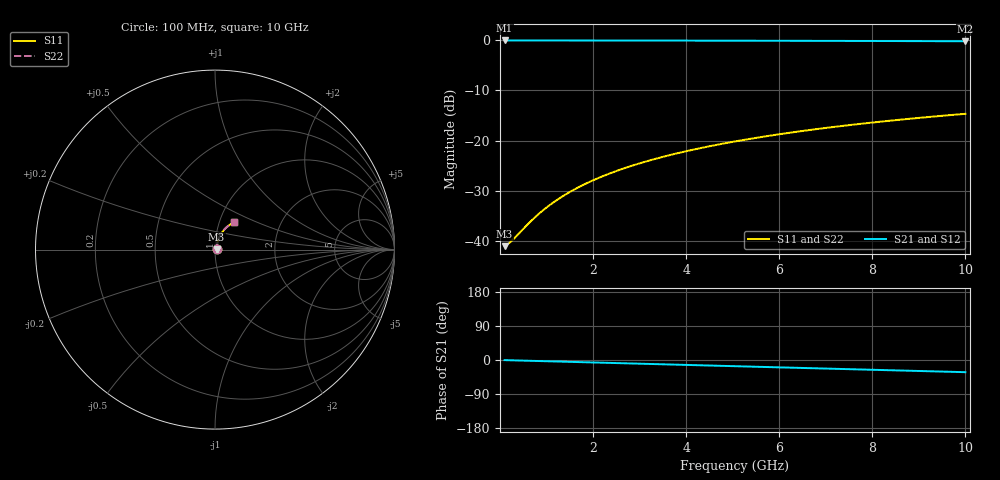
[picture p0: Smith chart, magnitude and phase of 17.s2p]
# Hz S RI R 50.00
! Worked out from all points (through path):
!   100 points, 100 MHz to 10 GHz, reference 50 ohm
!   highest |S21| = -0.08 dB at 100 MHz (marker M1); lowest = -0.2 dB at 10 GHz (marker M2)
!   group delay of S21, straight-line fit = 8.93 ps
!   lowest |S11| = -41.0 dB at 100 MHz (marker M3), VSWR 1.02, Z = 50.9 + j0.195 ohm
!   |S11| at or under -10 dB: start of sweep to end of sweep
!   |S22| runs from -41.0 to -14.7 dB; largest |S21 - S12| = 0
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1e8  0.00871 0.00192  0.9913 -0.00562  0.9913 -0.00562  0.00871 0.00192
2e8  0.0088 0.00384  0.9912 -0.0112  0.9912 -0.0112  0.0088 0.00384
3e8  0.00889 0.00576  0.991 -0.0168  0.991 -0.0168  0.00889 0.00576
7e8  0.00944 0.0134  0.9902 -0.0393  0.9902 -0.0393  0.00944 0.0134
8e8  0.00962 0.0153  0.9899 -0.0449  0.9899 -0.0449  0.00962 0.0153
1e9  0.01 0.0191  0.9892 -0.0561  0.9892 -0.0561  0.01 0.0191
1.2e9  0.0106 0.0229  0.9884 -0.0673  0.9884 -0.0673  0.0106 0.0229
1.4e9  0.0112 0.0267  0.9875 -0.0785  0.9875 -0.0785  0.0112 0.0267
1.6e9  0.0118 0.0305  0.9864 -0.0896  0.9864 -0.0896  0.0118 0.0305
1.8e9  0.0126 0.0343  0.9851 -0.1008  0.9851 -0.1008  0.0126 0.0343
2.1e9  0.0139 0.0398  0.983 -0.1174  0.983 -0.1174  0.0139 0.0398
2.5e9  0.0159 0.0472  0.9797 -0.1396  0.9797 -0.1396  0.0159 0.0472
2.9e9  0.0183 0.0545  0.9759 -0.1616  0.9759 -0.1616  0.0183 0.0545
3.4e9  0.0216 0.0634  0.9703 -0.189  0.9703 -0.189  0.0216 0.0634
3.8e9  0.0247 0.0704  0.9652 -0.2107  0.9652 -0.2107  0.0247 0.0704
4.2e9  0.0281 0.0773  0.9596 -0.2323  0.9596 -0.2323  0.0281 0.0773
5.1e9  0.0368 0.092  0.9451 -0.2801  0.9451 -0.2801  0.0368 0.092
5.9e9  0.0457 0.1043  0.9301 -0.3218  0.9301 -0.3218  0.0457 0.1043
6.7e9  0.0557 0.1157  0.9131 -0.3624  0.9131 -0.3624  0.0557 0.1157
7.5e9  0.0666 0.1261  0.8942 -0.402  0.8942 -0.402  0.0666 0.1261
8.4e9  0.0798 0.1365  0.8709 -0.4451  0.8709 -0.4451  0.0798 0.1365
1e10  0.1056 0.1515  0.8242 -0.5178  0.8242 -0.5178  0.1056 0.1515
